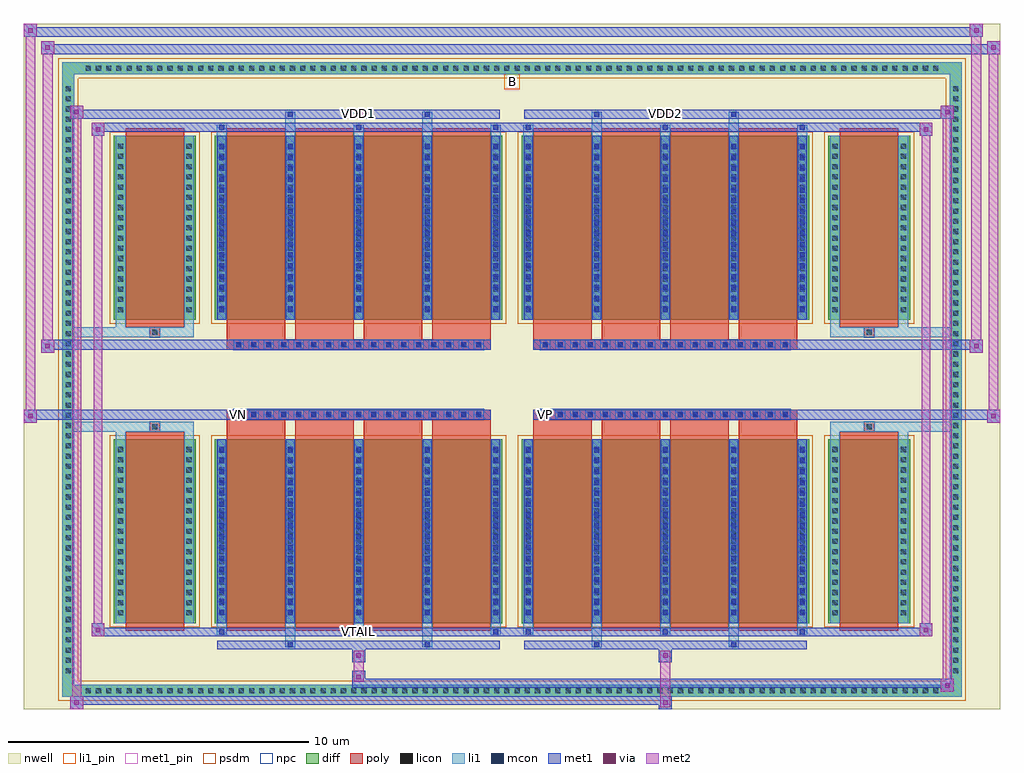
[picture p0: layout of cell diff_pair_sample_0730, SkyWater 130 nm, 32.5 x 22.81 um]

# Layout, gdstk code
import gdstk
lib = gdstk.Library(unit=1e-6, precision=5e-09)
def R(c, l, rs):  # rectangles x0, y0, x1, y1
    for r in rs: c.add(gdstk.rectangle(r[:2], r[2:], *l))
def A(c, l, x, y, w, h, nx, ny, dx, dy):  # array of equal rectangles
    R(c, l, [(x+i*dx, y+j*dy, x+i*dx+w, y+j*dy+h) for i in range(nx) for j in range(ny)])
def P(c, l, *ps):  # polygons
    for p in ps: c.add(gdstk.Polygon(p, *l))
nwell = (64, 20)
diff = (65, 20)
poly = (66, 20)
licon = (66, 44)
li1_pin = (67, 16)
li1 = (67, 20)
mcon = (67, 44)
met1_pin = (68, 16)
met1 = (68, 20)
via = (68, 44)
met2 = (69, 20)
psdm = (94, 20)
npc = (95, 20)

diff_pair_sample_0730 = lib.new_cell('diff_pair_sample_0730')
R(diff_pair_sample_0730, nwell, [(-16.25,-10.97,16.25,11.84), (-13.57,-9.16,-0.01,-0.8), (0.01,-9.16,13.57,-0.8), (-13.57,0.8,-0.01,9.16), (0.01,0.8,13.57,9.16)])
A(diff_pair_sample_0730, diff, -14.315, -10.57, 0.41, 0.41, 84, 2, 0.34, 20.73)
A(diff_pair_sample_0730, diff, -14.98, -9.895, 0.41, 0.41, 1, 58, 0, 0.34)
A(diff_pair_sample_0730, diff, 14.57, -9.895, 0.41, 0.41, 1, 58, 0, 0.34)
R(diff_pair_sample_0730, diff, [(-14.315,-10.57,14.315,-10.16), (-14.98,-9.895,-14.57,9.895), (14.57,-9.895,14.98,9.895), (-13.26,-8.115,-10.53,-1.985), (-9.89,-8.115,-0.32,-1.985), (0.32,-8.115,9.89,-1.985), (10.53,-8.115,13.26,-1.985), (-13.26,1.985,-10.53,8.115), (-9.89,1.985,-0.32,8.115), (0.32,1.985,9.89,8.115), (10.53,1.985,13.26,8.115), (-14.315,10.16,14.315,10.57)])
P(diff_pair_sample_0730, diff, [(14.98,10.57),(-14.98,10.57),(-14.98,-10.16),(-14.57,-10.16),(-14.57,10.16),(14.57,10.16),(14.57,-10.16),(-14.57,-10.16),(-14.98,-10.16),(-14.98,-10.57),(14.98,-10.57)])
A(diff_pair_sample_0730, poly, -9.5, -8.365, 1.95, 6.63, 4, 2, 2.28, 10.1)
A(diff_pair_sample_0730, poly, 0.71, -8.365, 1.95, 6.63, 4, 2, 2.28, 10.1)
A(diff_pair_sample_0730, poly, -9.5, -1.735, 1.95, 0.405, 4, 2, 2.28, 3.065)
A(diff_pair_sample_0730, poly, 0.71, -1.735, 1.95, 0.405, 4, 2, 2.28, 3.065)
A(diff_pair_sample_0730, poly, -9.27, -1.33, 0.33, 0.33, 17, 2, 0.5, 2.33)
A(diff_pair_sample_0730, poly, 0.94, -1.33, 0.33, 0.33, 17, 2, 0.5, 2.33)
R(diff_pair_sample_0730, poly, [(-12.87,-8.365,-10.92,-1.735), (10.92,-8.365,12.87,-1.735), (-12.06,-1.735,-11.73,-1.405), (-12.06,-1.735,-11.73,-1.405), (11.73,-1.735,12.06,-1.405), (11.73,-1.735,12.06,-1.405), (-9.5,-1.33,-0.71,-1), (0.71,-1.33,9.5,-1), (-9.5,1,-0.71,1.33), (0.71,1,9.5,1.33), (-12.06,1.405,-11.73,1.735), (-12.06,1.405,-11.73,1.735), (11.73,1.405,12.06,1.735), (11.73,1.405,12.06,1.735), (-12.87,1.735,-10.92,8.365), (10.92,1.735,12.87,8.365)])
A(diff_pair_sample_0730, licon, -14.195, -10.45, 0.17, 0.17, 84, 2, 0.34, 20.73)
A(diff_pair_sample_0730, licon, -14.86, -9.775, 0.17, 0.17, 1, 58, 0, 0.34)
A(diff_pair_sample_0730, licon, 14.69, -9.775, 0.17, 0.17, 1, 58, 0, 0.34)
A(diff_pair_sample_0730, licon, -13.12, -7.855, 0.17, 0.17, 1, 17, 0, 0.34)
A(diff_pair_sample_0730, licon, -10.84, -7.855, 0.17, 0.17, 1, 17, 0, 0.34)
A(diff_pair_sample_0730, licon, -9.75, -7.855, 0.17, 0.17, 5, 17, 2.28, 0.34)
A(diff_pair_sample_0730, licon, 0.46, -7.855, 0.17, 0.17, 5, 17, 2.28, 0.34)
A(diff_pair_sample_0730, licon, 10.67, -7.855, 0.17, 0.17, 1, 17, 0, 0.34)
A(diff_pair_sample_0730, licon, 12.95, -7.855, 0.17, 0.17, 1, 17, 0, 0.34)
A(diff_pair_sample_0730, licon, -9.19, -1.25, 0.17, 0.17, 17, 2, 0.5, 2.33)
A(diff_pair_sample_0730, licon, 1.02, -1.25, 0.17, 0.17, 17, 2, 0.5, 2.33)
A(diff_pair_sample_0730, licon, -13.12, 2.245, 0.17, 0.17, 1, 17, 0, 0.34)
A(diff_pair_sample_0730, licon, -10.84, 2.245, 0.17, 0.17, 1, 17, 0, 0.34)
A(diff_pair_sample_0730, licon, -9.75, 2.245, 0.17, 0.17, 5, 17, 2.28, 0.34)
A(diff_pair_sample_0730, licon, 0.46, 2.245, 0.17, 0.17, 5, 17, 2.28, 0.34)
A(diff_pair_sample_0730, licon, 10.67, 2.245, 0.17, 0.17, 1, 17, 0, 0.34)
A(diff_pair_sample_0730, licon, 12.95, 2.245, 0.17, 0.17, 1, 17, 0, 0.34)
R(diff_pair_sample_0730, licon, [(-11.98,-1.655,-11.81,-1.485), (11.81,-1.655,11.98,-1.485), (-11.98,1.485,-11.81,1.655), (11.81,1.485,11.98,1.655)])
R(diff_pair_sample_0730, li1_pin, [(-0.25,9.66,0.25,10.16)])
A(diff_pair_sample_0730, li1, -14.275, -10.53, 0.33, 0.33, 84, 2, 0.34, 20.73)
A(diff_pair_sample_0730, li1, -14.94, -9.855, 0.33, 0.33, 1, 58, 0, 0.34)
A(diff_pair_sample_0730, li1, 14.61, -9.855, 0.33, 0.33, 1, 58, 0, 0.34)
A(diff_pair_sample_0730, li1, -9.83, -8.49, 0.33, 0.375, 3, 2, 4.56, 16.605)
A(diff_pair_sample_0730, li1, -9.75, -8.49, 0.17, 0.17, 3, 2, 4.56, 16.81)
A(diff_pair_sample_0730, li1, 0.38, -8.49, 0.33, 0.375, 3, 2, 4.56, 16.605)
A(diff_pair_sample_0730, li1, 0.46, -8.49, 0.17, 0.17, 3, 2, 4.56, 16.81)
A(diff_pair_sample_0730, li1, -9.83, -8.115, 0.33, 6.13, 5, 2, 2.28, 10.1)
A(diff_pair_sample_0730, li1, 0.38, -8.115, 0.33, 6.13, 5, 2, 2.28, 10.1)
A(diff_pair_sample_0730, li1, -13.2, -7.935, 0.33, 0.33, 1, 17, 0, 0.34)
A(diff_pair_sample_0730, li1, -10.92, -7.935, 0.33, 0.33, 1, 17, 0, 0.34)
A(diff_pair_sample_0730, li1, -9.83, -7.935, 0.33, 0.33, 5, 17, 2.28, 0.34)
A(diff_pair_sample_0730, li1, 0.38, -7.935, 0.33, 0.33, 5, 17, 2.28, 0.34)
A(diff_pair_sample_0730, li1, 10.59, -7.935, 0.33, 0.33, 1, 17, 0, 0.34)
A(diff_pair_sample_0730, li1, 12.87, -7.935, 0.33, 0.33, 1, 17, 0, 0.34)
A(diff_pair_sample_0730, li1, -9.75, -7.835, 0.17, 0.17, 5, 16, 2.28, 0.36)
A(diff_pair_sample_0730, li1, -9.75, -7.835, 0.17, 5.57, 5, 2, 2.28, 10.1)
A(diff_pair_sample_0730, li1, 0.46, -7.835, 0.17, 0.17, 5, 16, 2.28, 0.36)
A(diff_pair_sample_0730, li1, 0.46, -7.835, 0.17, 5.57, 5, 2, 2.28, 10.1)
A(diff_pair_sample_0730, li1, -9.27, -1.33, 0.33, 0.33, 17, 2, 0.5, 2.33)
A(diff_pair_sample_0730, li1, 0.94, -1.33, 0.33, 0.33, 17, 2, 0.5, 2.33)
A(diff_pair_sample_0730, li1, -13.2, 2.165, 0.33, 0.33, 1, 17, 0, 0.34)
A(diff_pair_sample_0730, li1, -10.92, 2.165, 0.33, 0.33, 1, 17, 0, 0.34)
A(diff_pair_sample_0730, li1, -9.83, 2.165, 0.33, 0.33, 5, 17, 2.28, 0.34)
A(diff_pair_sample_0730, li1, 0.38, 2.165, 0.33, 0.33, 5, 17, 2.28, 0.34)
A(diff_pair_sample_0730, li1, 10.59, 2.165, 0.33, 0.33, 1, 17, 0, 0.34)
A(diff_pair_sample_0730, li1, 12.87, 2.165, 0.33, 0.33, 1, 17, 0, 0.34)
A(diff_pair_sample_0730, li1, -9.75, 2.265, 0.17, 0.17, 5, 16, 2.28, 0.36)
A(diff_pair_sample_0730, li1, 0.46, 2.265, 0.17, 0.17, 5, 16, 2.28, 0.36)
R(diff_pair_sample_0730, li1, [(-14.98,-10.57,-14.57,-10.16), (-14.98,-10.57,-14.57,-10.16), (-14.57,-10.57,14.57,-10.16), (14.57,-10.57,14.98,-10.16), (14.57,-10.57,14.98,-10.16), (-14.98,-10.16,-14.57,10.16), (14.57,-10.16,14.98,10.16), (-7.55,-8.92,-7.22,-8.115), (-7.47,-8.92,-7.3,-8.75), (-2.99,-8.92,-2.66,-8.115), (-2.91,-8.92,-2.74,-8.75), (2.66,-8.92,2.99,-8.115), (2.74,-8.92,2.91,-8.75), (7.22,-8.92,7.55,-8.115), (7.3,-8.92,7.47,-8.75), (-13.2,-8.115,-12.87,-1.985), (-10.92,-8.115,-10.59,-1.985), (10.59,-8.115,10.92,-1.985), (12.87,-8.115,13.2,-1.985), (-13.2,-1.985,-12.87,-1.405), (-10.92,-1.985,-10.59,-1.405), (10.59,-1.985,10.92,-1.405), (12.87,-1.985,13.2,-1.405), (-14.98,-1.735,-12.06,-1.405), (-13.2,-1.735,-12.06,-1.405), (-12.06,-1.735,-11.73,-1.405), (-11.73,-1.735,-10.59,-1.405), (10.59,-1.735,11.73,-1.405), (11.73,-1.735,12.06,-1.405), (11.73,-1.735,14.98,-1.405), (12.06,-1.735,13.2,-1.405), (-14.98,1.405,-12.06,1.735), (-13.2,1.405,-12.06,1.735), (-13.2,1.405,-12.87,1.985), (-12.06,1.405,-11.73,1.735), (-11.73,1.405,-10.59,1.735), (-10.92,1.405,-10.59,1.985), (10.59,1.405,11.73,1.735), (10.59,1.405,10.92,1.985), (11.73,1.405,12.06,1.735), (11.73,1.405,14.98,1.735), (12.06,1.405,13.2,1.735), (12.87,1.405,13.2,1.985), (-13.2,1.985,-12.87,8.115), (-10.92,1.985,-10.59,8.115), (10.59,1.985,10.92,8.115), (12.87,1.985,13.2,8.115), (-7.55,8.115,-7.22,8.92), (-2.99,8.115,-2.66,8.92), (2.66,8.115,2.99,8.92), (7.22,8.115,7.55,8.92), (-7.47,8.75,-7.3,8.92), (-2.91,8.75,-2.74,8.92), (2.74,8.75,2.91,8.92), (7.3,8.75,7.47,8.92), (-14.98,10.16,-14.57,10.57), (-14.98,10.16,-14.57,10.57), (-14.57,10.16,14.57,10.57), (14.57,10.16,14.98,10.57), (14.57,10.16,14.98,10.57)])
A(diff_pair_sample_0730, mcon, -9.75, -8.49, 0.17, 0.17, 3, 2, 4.56, 16.81)
A(diff_pair_sample_0730, mcon, 0.46, -8.49, 0.17, 0.17, 3, 2, 4.56, 16.81)
A(diff_pair_sample_0730, mcon, -9.75, -7.835, 0.17, 0.17, 5, 16, 2.28, 0.36)
A(diff_pair_sample_0730, mcon, 0.46, -7.835, 0.17, 0.17, 5, 16, 2.28, 0.36)
A(diff_pair_sample_0730, mcon, -9.19, -1.25, 0.17, 0.17, 17, 2, 0.5, 2.33)
A(diff_pair_sample_0730, mcon, 1.02, -1.25, 0.17, 0.17, 17, 2, 0.5, 2.33)
A(diff_pair_sample_0730, mcon, -9.75, 2.265, 0.17, 0.17, 5, 16, 2.28, 0.36)
A(diff_pair_sample_0730, mcon, 0.46, 2.265, 0.17, 0.17, 5, 16, 2.28, 0.36)
R(diff_pair_sample_0730, mcon, [(-7.47,-8.92,-7.3,-8.75), (-2.91,-8.92,-2.74,-8.75), (2.74,-8.92,2.91,-8.75), (7.3,-8.92,7.47,-8.75), (-7.47,8.75,-7.3,8.92), (-2.91,8.75,-2.74,8.92), (2.74,8.75,2.91,8.92), (7.3,8.75,7.47,8.92)])
R(diff_pair_sample_0730, met1_pin, [(-5.24,-8.53,-4.97,-8.26), (-9.24,-1.29,-8.97,-1.02), (0.97,-1.29,1.24,-1.02), (-5.24,8.71,-4.97,8.98), (4.97,8.71,5.24,8.98)])
A(diff_pair_sample_0730, met1, -9.81, -8.55, 0.29, 0.29, 3, 2, 4.56, 16.81)
A(diff_pair_sample_0730, met1, 0.4, -8.55, 0.29, 0.29, 3, 2, 4.56, 16.81)
A(diff_pair_sample_0730, met1, -9.81, -8.115, 0.29, 6.13, 5, 2, 2.28, 10.1)
A(diff_pair_sample_0730, met1, 0.4, -8.115, 0.29, 6.13, 5, 2, 2.28, 10.1)
A(diff_pair_sample_0730, met1, -9.81, -7.895, 0.29, 0.29, 5, 16, 2.28, 0.36)
A(diff_pair_sample_0730, met1, 0.4, -7.895, 0.29, 0.29, 5, 16, 2.28, 0.36)
A(diff_pair_sample_0730, met1, -9.25, -1.31, 0.29, 0.29, 17, 2, 0.5, 2.33)
A(diff_pair_sample_0730, met1, 0.96, -1.31, 0.29, 0.29, 17, 2, 0.5, 2.33)
A(diff_pair_sample_0730, met1, -9.81, 2.205, 0.29, 0.29, 5, 16, 2.28, 0.36)
A(diff_pair_sample_0730, met1, 0.4, 2.205, 0.29, 0.29, 5, 16, 2.28, 0.36)
R(diff_pair_sample_0730, met1, [(-14.71,-10.97,-14.28,-10.54), (4.89,-10.97,5.32,-10.54), (-14.71,-10.83,5.32,-10.54), (14.28,-10.4,14.71,-9.97), (-5.32,-10.26,14.71,-9.97), (-5.32,-10.12,-4.89,-9.69), (-5.32,-9.41,-4.89,-8.98), (4.89,-9.41,5.32,-8.98), (-9.81,-8.98,-0.4,-8.69), (-7.53,-8.98,-7.24,-8.69), (-2.97,-8.98,-2.68,-8.69), (0.4,-8.98,9.81,-8.69), (2.68,-8.98,2.97,-8.69), (7.24,-8.98,7.53,-8.69), (-14,-8.55,-13.57,-8.12), (-14,-8.55,-9.81,-8.26), (-9.81,-8.55,-0.4,-8.26), (-0.4,-8.55,0.4,-8.26), (0.4,-8.55,9.81,-8.26), (9.81,-8.55,14,-8.26), (13.57,-8.55,14,-8.12), (-16.25,-1.43,-15.82,-1), (15.82,-1.43,16.25,-1), (-16.25,-1.33,-0.71,-1), (-9.5,-1.33,-0.71,-1), (0.71,-1.33,9.5,-1), (0.71,-1.33,16.25,-1), (-15.68,0.9,-15.25,1.33), (15.25,0.9,15.68,1.33), (-15.68,1,-9.5,1.33), (-9.5,1,-0.71,1.33), (0.71,1,9.5,1.33), (9.5,1,15.68,1.33), (-14,8.12,-13.57,8.55), (13.57,8.12,14,8.55), (-14,8.26,-9.81,8.55), (-9.81,8.26,-0.4,8.55), (-0.4,8.26,0.4,8.55), (0.4,8.26,9.81,8.55), (9.81,8.26,14,8.55), (-14.71,8.69,-14.28,9.12), (-14.71,8.69,-9.81,8.98), (-9.81,8.69,-0.4,8.98), (-7.53,8.69,-7.24,8.98), (-2.97,8.69,-2.68,8.98), (0.4,8.69,9.81,8.98), (2.68,8.69,2.97,8.98), (7.24,8.69,7.53,8.98), (9.81,8.69,14.71,8.98), (14.28,8.69,14.71,9.12), (-15.68,10.84,-15.25,11.27), (-15.68,10.84,-13.57,11.17), (-13.57,10.84,13.57,11.17), (13.57,10.84,16.25,11.17), (15.82,10.84,16.25,11.27), (-16.25,11.41,-15.82,11.84), (-16.25,11.41,-13.57,11.74), (-13.57,11.41,13.57,11.74), (13.57,11.41,15.68,11.74), (15.25,11.41,15.68,11.84)])
R(diff_pair_sample_0730, via, [(-14.57,-10.83,-14.42,-10.68), (5.03,-10.83,5.18,-10.68), (14.42,-10.26,14.57,-10.11), (-5.18,-9.98,-5.03,-9.83), (-5.18,-9.27,-5.03,-9.12), (5.03,-9.27,5.18,-9.12), (-13.86,-8.41,-13.71,-8.26), (13.71,-8.41,13.86,-8.26), (-16.11,-1.29,-15.96,-1.14), (15.96,-1.29,16.11,-1.14), (-15.54,1.04,-15.39,1.19), (15.39,1.04,15.54,1.19), (-13.86,8.26,-13.71,8.41), (13.71,8.26,13.86,8.41), (-14.57,8.83,-14.42,8.98), (14.42,8.83,14.57,8.98), (-15.54,10.98,-15.39,11.13), (15.96,10.98,16.11,11.13), (-16.11,11.55,-15.96,11.7), (15.39,11.55,15.54,11.7)])
R(diff_pair_sample_0730, met2, [(-14.71,-10.97,-14.28,-10.54), (-14.64,-10.97,-14.35,9.12), (-14.35,-10.97,-14.28,-10.54), (-14.66,-10.92,-14.33,-10.59), (4.94,-10.92,5.27,-10.59), (4.94,-10.59,5.27,-9.36), (14.28,-10.4,14.71,-9.97), (14.35,-10.4,14.64,9.12), (14.64,-10.4,14.71,-9.97), (14.33,-10.35,14.66,-10.02), (-5.27,-10.07,-4.94,-9.74), (-5.27,-9.74,-4.94,-9.36), (-5.27,-9.36,-4.94,-9.03), (4.94,-9.36,5.27,-9.03), (-14,-8.55,-13.57,-8.12), (-13.93,-8.55,-13.64,8.55), (-13.64,-8.55,-13.57,-8.12), (13.57,-8.55,14,-8.12), (13.64,-8.55,13.93,8.55), (13.93,-8.55,14,-8.12), (-13.95,-8.5,-13.62,-8.17), (13.62,-8.5,13.95,-8.17), (-16.25,-1.43,-15.82,-1), (-16.2,-1.43,-15.87,11.84), (-15.87,-1.43,-15.82,-1), (15.82,-1.43,16.25,-1), (15.87,-1.43,16.2,11.27), (16.2,-1.43,16.25,-1), (-16.2,-1.38,-15.87,-1.05), (15.87,-1.38,16.2,-1.05), (-15.68,0.9,-15.25,1.33), (-15.63,0.9,-15.3,11.27), (-15.3,0.9,-15.25,1.33), (15.25,0.9,15.68,1.33), (15.3,0.9,15.63,11.84), (15.63,0.9,15.68,1.33), (-15.63,0.95,-15.3,1.28), (15.3,0.95,15.63,1.28), (-14,8.12,-13.57,8.55), (-13.64,8.12,-13.57,8.55), (13.57,8.12,14,8.55), (13.93,8.12,14,8.55), (-13.95,8.17,-13.62,8.5), (13.62,8.17,13.95,8.5), (-14.71,8.69,-14.28,9.12), (-14.35,8.69,-14.28,9.12), (14.28,8.69,14.71,9.12), (14.64,8.69,14.71,9.12), (-14.66,8.74,-14.33,9.07), (14.33,8.74,14.66,9.07), (-15.68,10.84,-15.25,11.27), (-15.3,10.84,-15.25,11.27), (15.82,10.84,16.25,11.27), (16.2,10.84,16.25,11.27), (-15.63,10.89,-15.3,11.22), (15.87,10.89,16.2,11.22), (-16.25,11.41,-15.82,11.84), (-15.87,11.41,-15.82,11.84), (15.25,11.41,15.68,11.84), (15.63,11.41,15.68,11.84), (-16.2,11.46,-15.87,11.79), (15.3,11.46,15.63,11.79)])
R(diff_pair_sample_0730, psdm, [(-13.39,-8.245,-10.4,-1.855), (-10.02,-8.245,-0.19,-1.855), (0.19,-8.245,10.02,-1.855), (10.4,-8.245,13.39,-1.855), (-13.39,1.855,-10.4,8.245), (-10.02,1.855,-0.19,8.245), (0.19,1.855,10.02,8.245), (10.4,1.855,13.39,8.245)])
P(diff_pair_sample_0730, psdm, [(15.11,10.7),(-15.11,10.7),(-15.11,-10.03),(-14.44,-10.03),(-14.44,10.03),(14.44,10.03),(14.44,-10.03),(-14.44,-10.03),(-15.11,-10.03),(-15.11,-10.7),(15.11,-10.7)])
A(diff_pair_sample_0730, npc, -9.29, -1.35, 0.37, 0.37, 17, 2, 0.5, 2.33)
A(diff_pair_sample_0730, npc, 0.92, -1.35, 0.37, 0.37, 17, 2, 0.5, 2.33)
R(diff_pair_sample_0730, npc, [(-12.08,-1.755,-11.71,-1.385), (11.71,-1.755,12.08,-1.385), (-9.29,-1.35,-8.42,-0.98), (-9.29,-1.35,-8.42,-0.98), (-8.79,-1.35,-7.92,-0.98), (-8.79,-1.35,-7.92,-0.98), (-8.29,-1.35,-7.42,-0.98), (-8.29,-1.35,-7.42,-0.98), (-7.79,-1.35,-6.92,-0.98), (-7.79,-1.35,-6.92,-0.98), (-7.29,-1.35,-6.42,-0.98), (-7.29,-1.35,-6.42,-0.98), (-6.79,-1.35,-5.92,-0.98), (-6.79,-1.35,-5.92,-0.98), (-6.29,-1.35,-5.42,-0.98), (-6.29,-1.35,-5.42,-0.98), (-5.79,-1.35,-4.92,-0.98), (-5.79,-1.35,-4.92,-0.98), (-5.29,-1.35,-4.42,-0.98), (-5.29,-1.35,-4.42,-0.98), (-4.79,-1.35,-3.92,-0.98), (-4.79,-1.35,-3.92,-0.98), (-4.29,-1.35,-3.42,-0.98), (-4.29,-1.35,-3.42,-0.98), (-3.79,-1.35,-2.92,-0.98), (-3.79,-1.35,-2.92,-0.98), (-3.29,-1.35,-2.42,-0.98), (-3.29,-1.35,-2.42,-0.98), (-2.79,-1.35,-1.92,-0.98), (-2.79,-1.35,-1.92,-0.98), (-2.29,-1.35,-1.42,-0.98), (-2.29,-1.35,-1.42,-0.98), (-1.79,-1.35,-0.92,-0.98), (-1.79,-1.35,-0.92,-0.98), (0.92,-1.35,1.79,-0.98), (0.92,-1.35,1.79,-0.98), (1.42,-1.35,2.29,-0.98), (1.42,-1.35,2.29,-0.98), (1.92,-1.35,2.79,-0.98), (1.92,-1.35,2.79,-0.98), (2.42,-1.35,3.29,-0.98), (2.42,-1.35,3.29,-0.98), (2.92,-1.35,3.79,-0.98), (2.92,-1.35,3.79,-0.98), (3.42,-1.35,4.29,-0.98), (3.42,-1.35,4.29,-0.98), (3.92,-1.35,4.79,-0.98), (3.92,-1.35,4.79,-0.98), (4.42,-1.35,5.29,-0.98), (4.42,-1.35,5.29,-0.98), (4.92,-1.35,5.79,-0.98), (4.92,-1.35,5.79,-0.98), (5.42,-1.35,6.29,-0.98), (5.42,-1.35,6.29,-0.98), (5.92,-1.35,6.79,-0.98), (5.92,-1.35,6.79,-0.98), (6.42,-1.35,7.29,-0.98), (6.42,-1.35,7.29,-0.98), (6.92,-1.35,7.79,-0.98), (6.92,-1.35,7.79,-0.98), (7.42,-1.35,8.29,-0.98), (7.42,-1.35,8.29,-0.98), (7.92,-1.35,8.79,-0.98), (7.92,-1.35,8.79,-0.98), (8.42,-1.35,9.29,-0.98), (8.42,-1.35,9.29,-0.98), (-9.29,0.98,-8.42,1.35), (-9.29,0.98,-8.42,1.35), (-8.79,0.98,-7.92,1.35), (-8.79,0.98,-7.92,1.35), (-8.29,0.98,-7.42,1.35), (-8.29,0.98,-7.42,1.35), (-7.79,0.98,-6.92,1.35), (-7.79,0.98,-6.92,1.35), (-7.29,0.98,-6.42,1.35), (-7.29,0.98,-6.42,1.35), (-6.79,0.98,-5.92,1.35), (-6.79,0.98,-5.92,1.35), (-6.29,0.98,-5.42,1.35), (-6.29,0.98,-5.42,1.35), (-5.79,0.98,-4.92,1.35), (-5.79,0.98,-4.92,1.35), (-5.29,0.98,-4.42,1.35), (-5.29,0.98,-4.42,1.35), (-4.79,0.98,-3.92,1.35), (-4.79,0.98,-3.92,1.35), (-4.29,0.98,-3.42,1.35), (-4.29,0.98,-3.42,1.35), (-3.79,0.98,-2.92,1.35), (-3.79,0.98,-2.92,1.35), (-3.29,0.98,-2.42,1.35), (-3.29,0.98,-2.42,1.35), (-2.79,0.98,-1.92,1.35), (-2.79,0.98,-1.92,1.35), (-2.29,0.98,-1.42,1.35), (-2.29,0.98,-1.42,1.35), (-1.79,0.98,-0.92,1.35), (-1.79,0.98,-0.92,1.35), (0.92,0.98,1.79,1.35), (0.92,0.98,1.79,1.35), (1.42,0.98,2.29,1.35), (1.42,0.98,2.29,1.35), (1.92,0.98,2.79,1.35), (1.92,0.98,2.79,1.35), (2.42,0.98,3.29,1.35), (2.42,0.98,3.29,1.35), (2.92,0.98,3.79,1.35), (2.92,0.98,3.79,1.35), (3.42,0.98,4.29,1.35), (3.42,0.98,4.29,1.35), (3.92,0.98,4.79,1.35), (3.92,0.98,4.79,1.35), (4.42,0.98,5.29,1.35), (4.42,0.98,5.29,1.35), (4.92,0.98,5.79,1.35), (4.92,0.98,5.79,1.35), (5.42,0.98,6.29,1.35), (5.42,0.98,6.29,1.35), (5.92,0.98,6.79,1.35), (5.92,0.98,6.79,1.35), (6.42,0.98,7.29,1.35), (6.42,0.98,7.29,1.35), (6.92,0.98,7.79,1.35), (6.92,0.98,7.79,1.35), (7.42,0.98,8.29,1.35), (7.42,0.98,8.29,1.35), (7.92,0.98,8.79,1.35), (7.92,0.98,8.79,1.35), (8.42,0.98,9.29,1.35), (8.42,0.98,9.29,1.35), (-12.08,1.385,-11.71,1.755), (11.71,1.385,12.08,1.755)])
diff_pair_sample_0730.add(gdstk.Label('VTAIL', (-5.105,-8.395), layer=68, texttype=5))
diff_pair_sample_0730.add(gdstk.Label('VN', (-9.105,-1.155), layer=68, texttype=5))
diff_pair_sample_0730.add(gdstk.Label('VP', (1.105,-1.155), layer=68, texttype=5))
diff_pair_sample_0730.add(gdstk.Label('B', (0,9.91), layer=67, texttype=5))
diff_pair_sample_0730.add(gdstk.Label('VDD2', (5.105,8.845), layer=68, texttype=5))
diff_pair_sample_0730.add(gdstk.Label('VDD1', (-5.105,8.845), layer=68, texttype=5))

lib.write_gds('diff_pair_sample_0730.gds')
